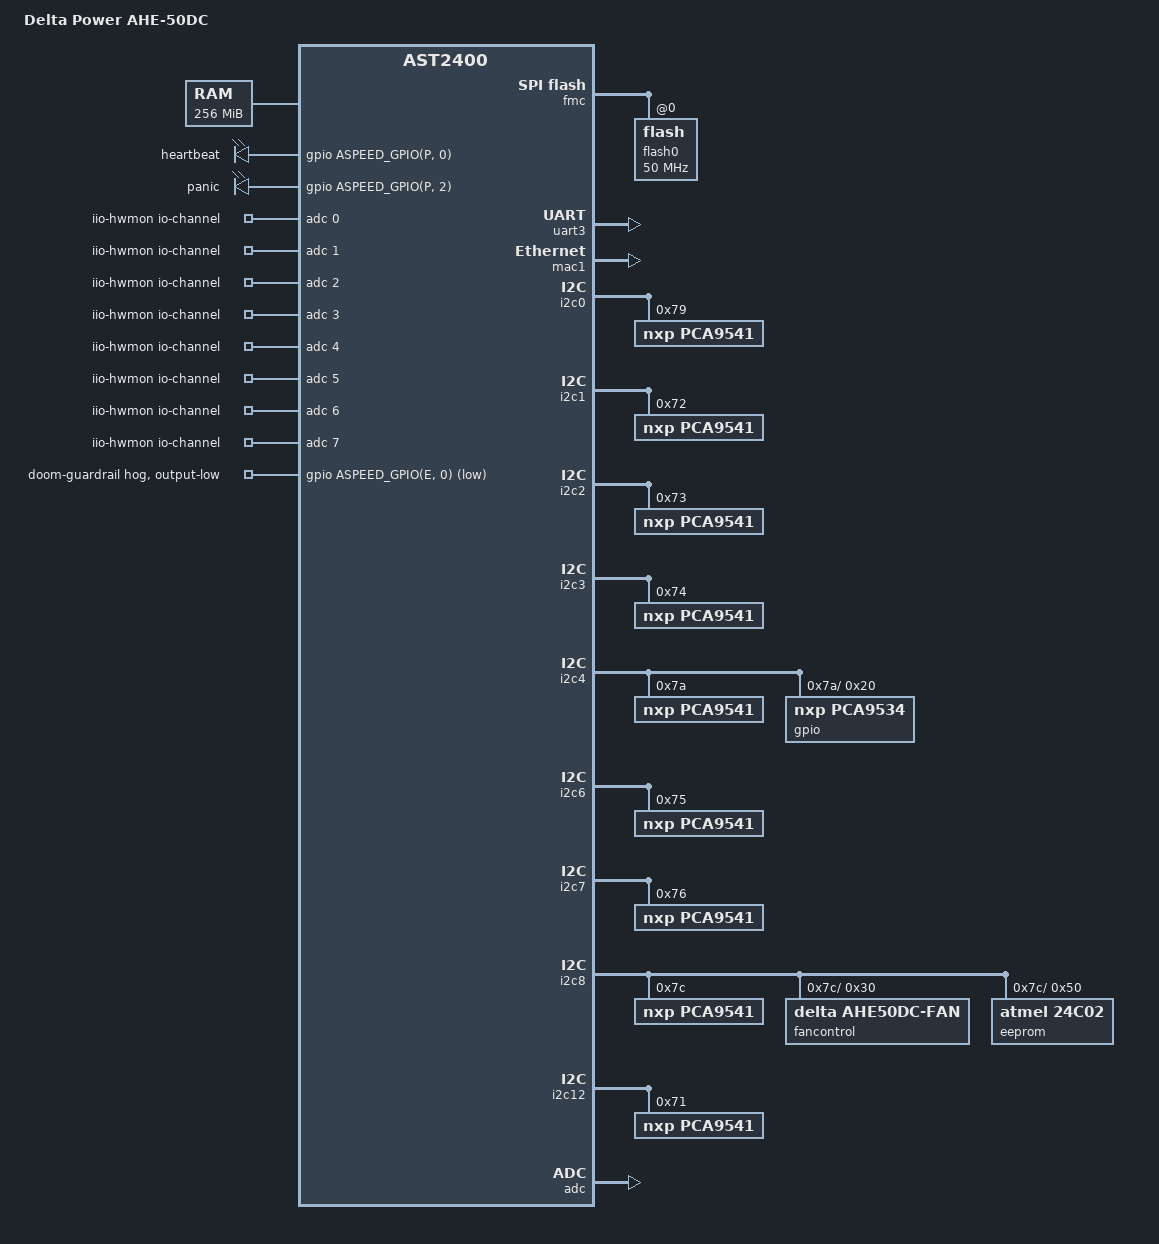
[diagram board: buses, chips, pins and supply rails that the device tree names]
// SPDX-License-Identifier: GPL-2.0+
/dts-v1/;

#include "aspeed-g4.dtsi"
#include <dt-bindings/gpio/aspeed-gpio.h>

#define EFUSE_OUTPUT(n)					\
	efuse##n {					\
		compatible = "regulator-output";	\
		vout-supply = <&efuse##n>;		\
	}

#define __stringify(x) #x

#define EFUSE(hexaddr, num)							\
	efuse@##hexaddr {							\
		compatible = "ti,lm25066";					\
		reg = <0x##hexaddr>;						\
		shunt-resistor-micro-ohms = <675>;				\
		regulators {							\
			efuse##num: vout0 {					\
				regulator-name = __stringify(efuse##num##-reg);	\
			};							\
		};								\
	}

/{
	model = "Delta Power AHE-50DC";
	compatible = "delta,ahe50dc-bmc", "aspeed,ast2400";

	aliases {
		serial4 = &uart5;

		/*
		 * pca9541-arbitrated logical i2c buses are numbered as the
		 * corresponding physical bus plus 20
		 */
		i2c20 = &i2carb0;
		i2c21 = &i2carb1;
		i2c22 = &i2carb2;
		i2c23 = &i2carb3;
		i2c24 = &i2carb4;
		i2c26 = &i2carb6;
		i2c27 = &i2carb7;
		i2c28 = &i2carb8;
		i2c32 = &i2carb12;
	};

	chosen {
		stdout-path = &uart3;
		bootargs = "console=ttyS2,115200n8 earlycon";
	};

	memory@40000000 {
		reg = <0x40000000 0x10000000>;
	};

	leds {
		compatible = "gpio-leds";

		heartbeat {
			gpios = <&gpio ASPEED_GPIO(P, 0) GPIO_ACTIVE_HIGH>;
			linux,default-trigger = "heartbeat";
		};

		panic {
			gpios = <&gpio ASPEED_GPIO(P, 2) GPIO_ACTIVE_HIGH>;
			linux,default-trigger = "panic";
		};
	};

	iio-hwmon {
		compatible = "iio-hwmon";
		io-channels = <&adc 0>, <&adc 1>, <&adc 2>, <&adc 3>, <&adc 4>,
			<&adc 5>, <&adc 6>, <&adc 7>, <&adc 8>, <&adc 9>;
	};

	EFUSE_OUTPUT(01);
	EFUSE_OUTPUT(02);
	EFUSE_OUTPUT(03);
	EFUSE_OUTPUT(04);
	EFUSE_OUTPUT(05);
	EFUSE_OUTPUT(06);
	EFUSE_OUTPUT(07);
	EFUSE_OUTPUT(08);
	EFUSE_OUTPUT(09);
	EFUSE_OUTPUT(10);
	EFUSE_OUTPUT(11);
	EFUSE_OUTPUT(12);
	EFUSE_OUTPUT(13);
	EFUSE_OUTPUT(14);
	EFUSE_OUTPUT(15);
	EFUSE_OUTPUT(16);
	EFUSE_OUTPUT(17);
	EFUSE_OUTPUT(18);
	EFUSE_OUTPUT(19);
	EFUSE_OUTPUT(20);
	EFUSE_OUTPUT(21);
	EFUSE_OUTPUT(22);
	EFUSE_OUTPUT(23);
	EFUSE_OUTPUT(24);
	EFUSE_OUTPUT(25);
	EFUSE_OUTPUT(26);
	EFUSE_OUTPUT(27);
	EFUSE_OUTPUT(28);
	EFUSE_OUTPUT(29);
	EFUSE_OUTPUT(30);
	EFUSE_OUTPUT(31);
	EFUSE_OUTPUT(32);
	EFUSE_OUTPUT(33);
	EFUSE_OUTPUT(34);
	EFUSE_OUTPUT(35);
	EFUSE_OUTPUT(36);
	EFUSE_OUTPUT(37);
	EFUSE_OUTPUT(38);
	EFUSE_OUTPUT(39);
	EFUSE_OUTPUT(40);
	EFUSE_OUTPUT(41);
	EFUSE_OUTPUT(42);
	EFUSE_OUTPUT(43);
	EFUSE_OUTPUT(44);
	EFUSE_OUTPUT(45);
	EFUSE_OUTPUT(46);
	EFUSE_OUTPUT(47);
	EFUSE_OUTPUT(48);
	EFUSE_OUTPUT(49);
	EFUSE_OUTPUT(50);

};

&fmc {
	status = "okay";

	flash@0 {
		status = "okay";
		m25p,fast-read;
		label = "flash0";
		spi-max-frequency = <50000000>; // 50 MHz
#include "openbmc-flash-layout.dtsi"
	};
};

&uart3 {
	status = "okay";
};

&mac1 {
	status = "okay";
	pinctrl-names = "default";
	pinctrl-0 = <&pinctrl_rgmii2_default &pinctrl_mdio2_default>;
};

&i2c0 {
	status = "okay";
	bus-frequency = <200000>;

	pca9541@79 {
		compatible = "nxp,pca9541";
		reg = <0x79>;

		i2carb0: i2c-arb {
			#address-cells = <1>;
			#size-cells = <0>;

			/* lm25066 efuses @ 10-17, 40-47, 50-57 */
			EFUSE(10, 03);
			EFUSE(11, 04);
			EFUSE(12, 01);
			EFUSE(13, 02);
			EFUSE(14, 13);
			EFUSE(15, 14);
			EFUSE(16, 15);
			EFUSE(17, 16);
			EFUSE(40, 12);
			EFUSE(41, 11);
			EFUSE(42, 10);
			EFUSE(43, 09);
			EFUSE(44, 08);
			EFUSE(45, 07);
			EFUSE(46, 05);
			EFUSE(47, 06);
			EFUSE(50, 17);
			EFUSE(51, 18);
			EFUSE(52, 20);
			EFUSE(53, 19);
			EFUSE(54, 22);
			EFUSE(55, 21);
			EFUSE(56, 24);
			EFUSE(57, 23);
		};
	};
};

&i2c1 {
	status = "okay";
	bus-frequency = <200000>;

	pca9541@72 {
		compatible = "nxp,pca9541";
		reg = <0x72>;

		i2carb1: i2c-arb {
			#address-cells = <1>;
			#size-cells = <0>;
		};
	};
};

&i2c2 {
	status = "okay";
	bus-frequency = <200000>;

	pca9541@73 {
		compatible = "nxp,pca9541";
		reg = <0x73>;

		i2carb2: i2c-arb {
			#address-cells = <1>;
			#size-cells = <0>;
		};
	};
};

&i2c3 {
	status = "okay";
	bus-frequency = <200000>;

	pca9541@74 {
		compatible = "nxp,pca9541";
		reg = <0x74>;

		i2carb3: i2c-arb {
			#address-cells = <1>;
			#size-cells = <0>;
		};
	};
};

&i2c4 {
	status = "okay";
	bus-frequency = <200000>;

	pca9541@7a {
		compatible = "nxp,pca9541";
		reg = <0x7a>;

		i2carb4: i2c-arb {
			#address-cells = <1>;
			#size-cells = <0>;

			gpio@20 {
				compatible = "nxp,pca9534";
				reg = <0x20>;
				gpio-controller;
				#gpio-cells = <2>;
			};

			/* lm25066 efuses @ 10-17, 40-47, 50-57, 59, 5a */
			EFUSE(10, 27);
			EFUSE(11, 28);
			EFUSE(12, 25);
			EFUSE(13, 26);
			EFUSE(14, 37);
			EFUSE(15, 38);
			EFUSE(16, 39);
			EFUSE(17, 40);
			EFUSE(40, 36);
			EFUSE(41, 35);
			EFUSE(42, 34);
			EFUSE(43, 33);
			EFUSE(44, 32);
			EFUSE(45, 31);
			EFUSE(46, 29);
			EFUSE(47, 30);
			EFUSE(50, 41);
			EFUSE(51, 42);
			EFUSE(52, 44);
			EFUSE(53, 43);
			EFUSE(54, 46);
			EFUSE(55, 45);
			EFUSE(56, 48);
			EFUSE(57, 47);
			EFUSE(59, 49);
			EFUSE(5a, 50);
		};
	};
};

&i2c6 {
	status = "okay";
	bus-frequency = <200000>;

	pca9541@75 {
		compatible = "nxp,pca9541";
		reg = <0x75>;

		i2carb6: i2c-arb {
			#address-cells = <1>;
			#size-cells = <0>;
		};
	};
};

&i2c7 {
	status = "okay";
	bus-frequency = <200000>;

	pca9541@76 {
		compatible = "nxp,pca9541";
		reg = <0x76>;

		i2carb7: i2c-arb {
			#address-cells = <1>;
			#size-cells = <0>;
		};
	};
};

&i2c8 {
	status = "okay";
	bus-frequency = <200000>;

	pca9541@7c {
		compatible = "nxp,pca9541";
		reg = <0x7c>;

		i2carb8: i2c-arb {
			#address-cells = <1>;
			#size-cells = <0>;

			fancontrol@30 {
				compatible = "delta,ahe50dc-fan";
				reg = <0x30>;
			};

			/* Baseboard FRU eeprom */
			eeprom@50 {
				compatible = "atmel,24c02";
				reg = <0x50>;
			};
		};
	};
};

&i2c12 {
	status = "okay";
	bus-frequency = <200000>;

	pca9541@71 {
		compatible = "nxp,pca9541";
		reg = <0x71>;

		i2carb12: i2c-arb {
			#address-cells = <1>;
			#size-cells = <0>;
		};
	};
};

&gpio {
	status = "okay";
	gpio-line-names =
		/*  A */ "", "", "", "", "", "", "", "",
		/*  B */ "", "", "", "", "", "", "", "",
		/*  C */ "RESET_PEER_N", "HEARTBEAT_OUT", "", "", "", "", "", "",
		/*  D */ "", "", "", "", "", "", "", "",
		/*  E */ "DOOM_N", "", "", "", "", "LED_PWR_BLUE", "", "",
		/*  F */ "", "", "", "", "", "", "", "",
		/*  G */ "", "", "", "", "", "", "", "",
		/*  H */ "", "", "", "", "", "", "", "",
		/*  I */ "", "", "", "", "", "", "", "",
		/*  J */ "", "", "BMC_ID", "", "", "", "", "",
		/*  K */ "", "", "", "", "", "", "", "",
		/*  L */ "", "", "", "", "", "", "", "",
		/*  M */ "", "", "", "", "", "", "", "",
		/*  N */ "", "", "", "", "", "", "", "",
		/*  O */ "", "", "", "", "", "", "", "",
		/*  P */ "LED_GREEN", "", "LED_RED", "", "", "", "", "",
		/*  Q */ "", "", "", "", "", "", "", "",
		/*  R */ "", "", "", "", "", "", "", "",
		/*  S */ "", "", "", "", "", "", "", "",
		/*  T */ "", "", "", "", "", "", "", "",
		/*  U */ "", "", "", "", "", "", "", "",
		/*  V */ "", "", "", "", "", "", "", "",
		/*  W */ "", "", "", "", "", "", "", "",
		/*  X */ "", "", "", "", "", "", "", "",
		/*  Y */ "HEARTBEAT_IN", "BOARDREV0", "BOARDREV1", "",
		/*  Z */ "", "", "", "", "", "", "", "",
		/* AA */ "", "", "", "", "", "", "", "",
		/* AB */ "", "", "", "";

	/*
	 * I don't rightly know what this GPIO really *is*, but setting it to
	 * zero causes the fans to run at full speed, after which setting it
	 * back to one causes a power output glitch, so install a hog to keep
	 * it at one as a failsafe to ensure nothing accidentally touches it.
	 */
	doom-guardrail {
		gpio-hog;
		gpios = <ASPEED_GPIO(E, 0) GPIO_ACTIVE_LOW>;
		output-low;
	};
};

&adc {
	status = "okay";
	pinctrl-names = "default";
	pinctrl-0 = <&pinctrl_adc0_default
		&pinctrl_adc1_default
		&pinctrl_adc2_default
		&pinctrl_adc3_default
		&pinctrl_adc4_default
		&pinctrl_adc5_default
		&pinctrl_adc6_default
		&pinctrl_adc7_default
		&pinctrl_adc8_default
		&pinctrl_adc9_default>;
};
